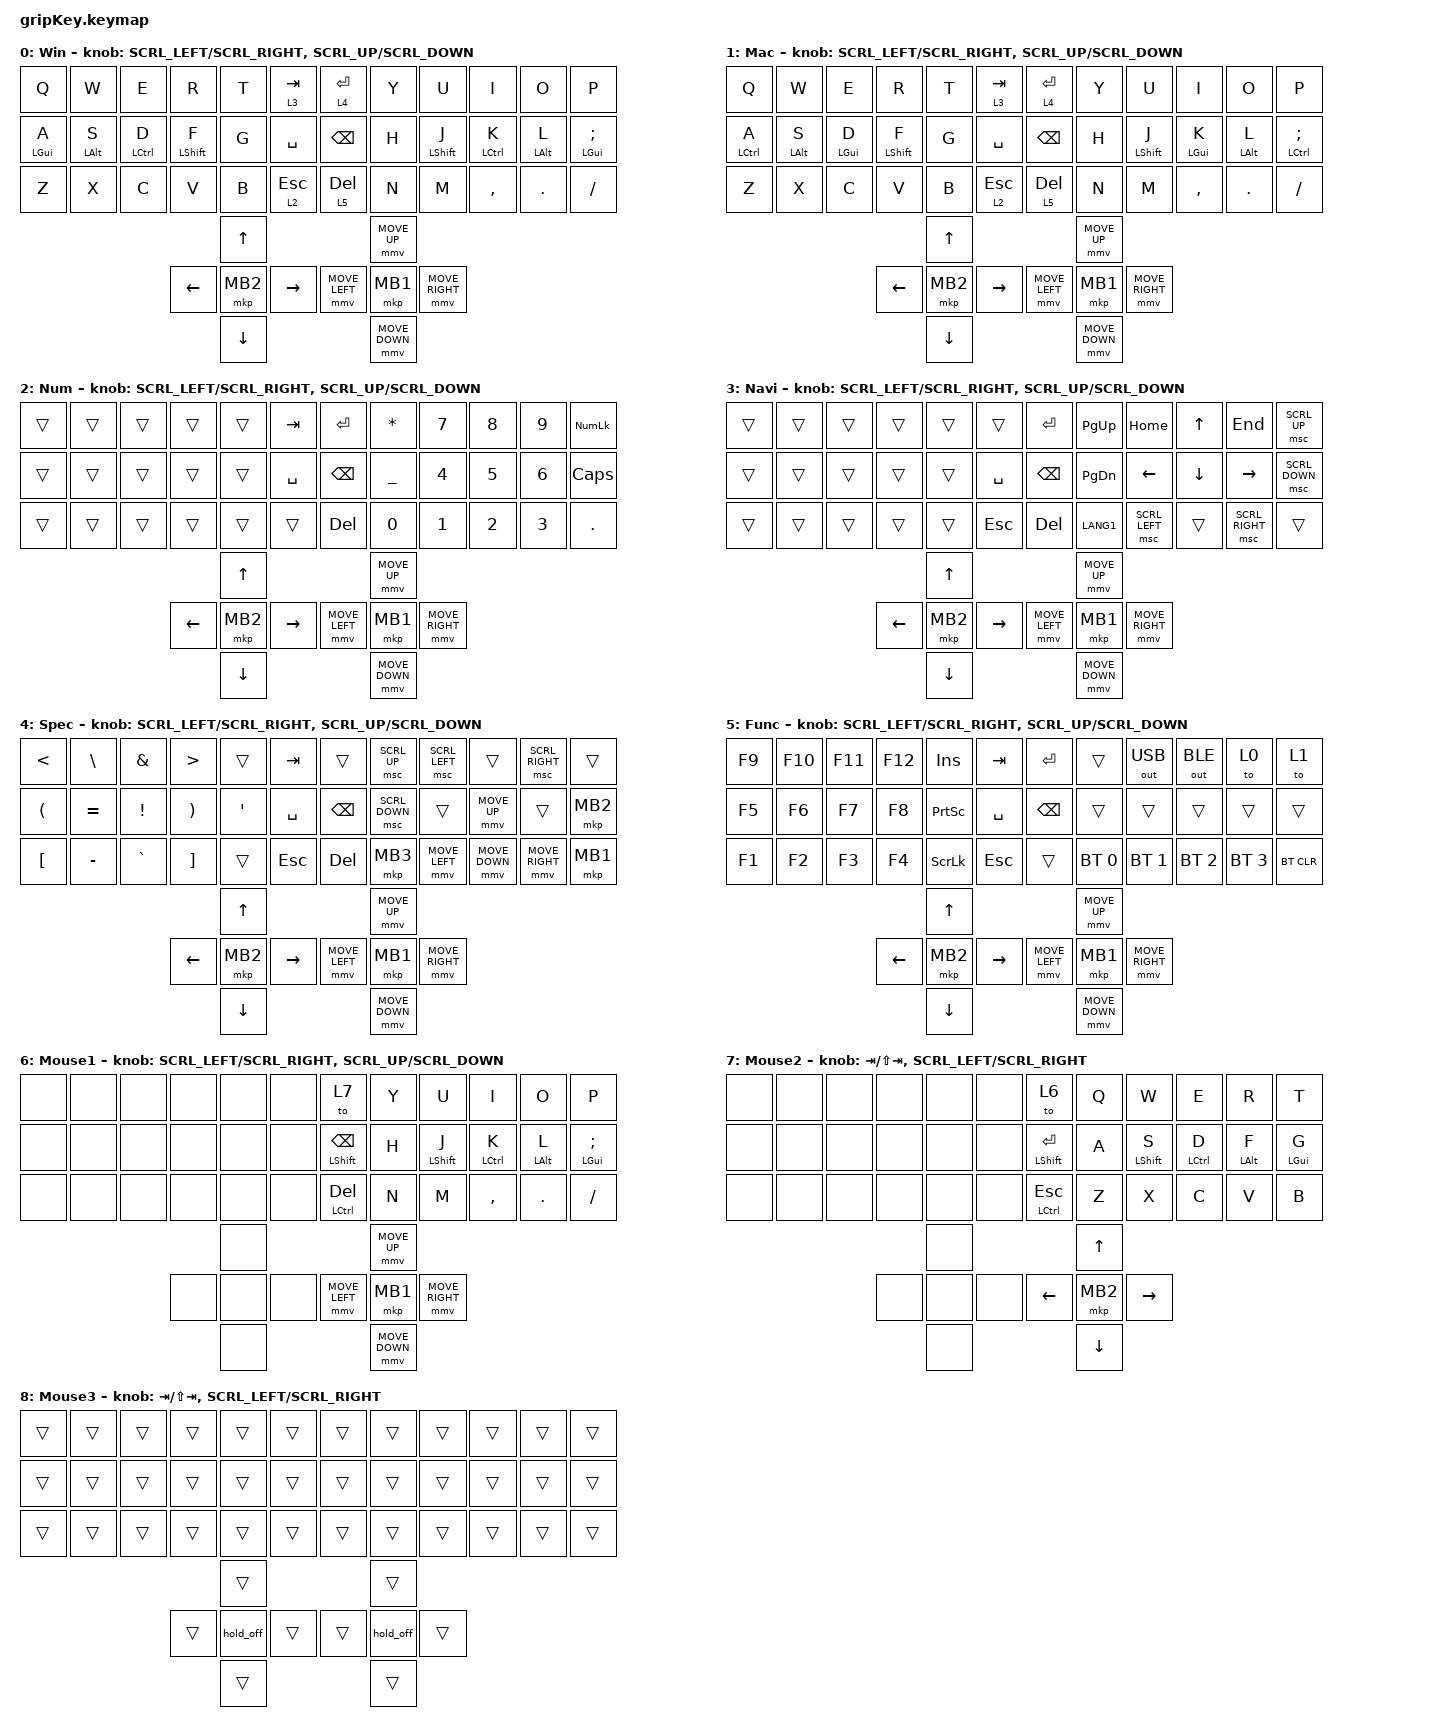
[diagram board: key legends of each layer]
#include <behaviors.dtsi>
#include <dt-bindings/zmk/keys.h>
#include <dt-bindings/zmk/bt.h>
#include <dt-bindings/zmk/outputs.h>

#include <dt-bindings/zmk/pointing.h>

// 휠 속도 최적화 - SCRL_VAL와 eh 하단의 tap-ms 곱해서 1250이상 돼야 스크롤 정상작동!
// SCRL_VAL: 스크롤 거리, tap-ms: 지연속도
#define ZMK_POINTING_DEFAULT_SCRL_VAL 30 // default:10, 7

// 스크롤 이벤트 빠른반영
&msc {
    trigger-period-ms = <8>;    // 기본값 16 (반영주기)
    time-to-max-speed-ms = <0>; // 기본값300 (최대치도달속도)
    acceleration-exponent = <0>;
};

/ {
    macros {
        ZMK_MACRO(sql_select,  wait-ms = <30>; tap-ms = <40>; bindings = <&kp S &kp E &kp L &kp E &kp C &kp T &kp SPACE &kp STAR>;)
        ZMK_MACRO(sql_from,    wait-ms = <30>; tap-ms = <40>; bindings = <&kp F &kp R &kp O &kp M>;)
        ZMK_MACRO(sql_where,   wait-ms = <30>; tap-ms = <40>; bindings = <&kp W &kp H &kp E &kp R &kp E &kp SPACE &kp N1 &kp EQUAL &kp N1 &kp ENTER &kp A &kp N &kp D &kp SPACE>;)
        ZMK_MACRO(sql_order,   wait-ms = <30>; tap-ms = <40>; bindings = <&kp O &kp R &kp D &kp E &kp R &kp SPACE &kp B &kp Y>;)
        // 마우스 홀드용 콤보
        ZMK_MACRO(mouse_hold,  wait-ms = <30>; tap-ms = <40>; bindings = <&macro_press &mkp MB1>, <&macro_tap &tog 8>;)
        ZMK_MACRO(mouse_hold_r,wait-ms = <30>; tap-ms = <40>; bindings = <&macro_press &mkp MB2>, <&macro_tap &tog 8>;)
        ZMK_MACRO(hold_off,    wait-ms = <0>;  tap-ms = <0>;  bindings = <&macro_release &mkp MB1>, <&macro_release &mkp MB2>, <&macro_tap &tog 8>;)
    };

    combos {
        compatible = "zmk,combos";
        combo_b                 { timeout-ms = <80>; key-positions = <31 32>;    bindings = <&kp B>; };
        combo_caps              { timeout-ms = <80>; key-positions = <0 1>;      bindings = <&kp CAPS>; };
        combo_hangle            { timeout-ms = <80>; key-positions = <10 11>;    bindings = <&kp LANG1>; };

        combo_select            { timeout-ms = <80>; key-positions = <32 33>;    bindings = <&sql_select>; };
        combo_from              { timeout-ms = <80>; key-positions = <32 33>;    bindings = <&sql_from>; };
        combo_where             { timeout-ms = <80>; key-positions = <8 9>;      bindings = <&sql_where>; };
        combo_order             { timeout-ms = <80>; key-positions = <9 10>;     bindings = <&sql_order>; };

        combo_win_undo          { timeout-ms = <80>; key-positions = <24 25>;    bindings = <&kp LC(Z)>; layers = <0>; };
        combo_win_redo          { timeout-ms = <80>; key-positions = <24 25 26>; bindings = <&kp LC(LS(Z))>; layers = <0>; };
        combo_win_cut           { timeout-ms = <80>; key-positions = <25 26>;    bindings = <&kp LC(X)>; layers = <0>; };
        combo_win_copy          { timeout-ms = <80>; key-positions = <26 27>;    bindings = <&kp LC(C)>; layers = <0>; };
        combo_win_paste         { timeout-ms = <80>; key-positions = <27 28>;    bindings = <&kp LC(V)>; layers = <0>; };
        combo_win_natural_paste { timeout-ms = <80>; key-positions = <26 27 28>; bindings = <&kp LC(LA(V))>; layers = <0>; };

        combo_mac_undo          { timeout-ms = <80>; key-positions = <24 25>;    bindings = <&kp LG(Z)>; layers = <1>; };
        combo_mac_redo          { timeout-ms = <80>; key-positions = <24 25 26>; bindings = <&kp LG(LS(Z))>; layers = <1>; };
        combo_mac_cut           { timeout-ms = <80>; key-positions = <25 26>;    bindings = <&kp LG(X)>; layers = <1>; };
        combo_mac_copy          { timeout-ms = <80>; key-positions = <26 27>;    bindings = <&kp LG(C)>; layers = <1>; };
        combo_mac_paste         { timeout-ms = <80>; key-positions = <27 28>;    bindings = <&kp LG(V)>; layers = <1>; };
        combo_mac_natural_paste { timeout-ms = <80>; key-positions = <26 27 28>; bindings = <&kp LG(LA(V))>; layers = <1>; };

        combo_to_mouse_mode     { timeout-ms = <80>; key-positions = <9 10 11>;  bindings = <&to 6>; layers = <0 1>; };
        combo_to_normal_mode    { timeout-ms = <80>; key-positions = <9 10 11>;  bindings = <&to 0>; layers = <6 7>; };
        combo_backward          { timeout-ms = <80>; key-positions = <6 18>;     bindings = <&kp C_AC_BACK>; };
        combo_forward           { timeout-ms = <80>; key-positions = <18 30>;    bindings = <&kp C_AC_FORWARD>; };
        combo_home              { timeout-ms = <80>; key-positions = <6 18 30>;  bindings = <&kp C_AC_HOME>; };
        
        combo_mouse_hold        { timeout-ms = <80>; key-positions = <7 42>;     bindings = <&mouse_hold>; layers = <0 1 2 3 4 5 6>; };
        combo_mouse_hold_r      { timeout-ms = <80>; key-positions = <4 39>;     bindings = <&mouse_hold_r>; layers = <0 1 2 3 4 5>; };
        combo_mouse_hold_r2     { timeout-ms = <80>; key-positions = <7 42>;     bindings = <&mouse_hold_r>; layers = <7>; };
    };

    behaviors {
        // 홈로우
        hm: balanced_homerow_mods {
            compatible = "zmk,behavior-hold-tap";
            #binding-cells = <2>;
            tapping-term-ms = <400>;
            quick-tap-ms = <0>;
            flavor = "balanced";
            bindings = <&kp>, <&kp>;
        };

        // 인코더 휠
        eh: scroll_encoder {
            compatible = "zmk,behavior-sensor-rotate-var";
            #sensor-binding-cells = <2>;
            bindings = <&msc>, <&msc>;
            tap-ms = <45>;
        };
    };
    
    keymap {
        // 0   1   2   3   4    5  | 6    7   8   9   10  11
        // 12  13  14  15  16   17 | 18   19  20  21  22  23
        // 24  25  26  27  28   29 | 30   31  32  33  34  35
        //                 36             37
        //             38  39  40     41  42  43
        //                 44             45
        compatible = "zmk,keymap";

        default_layer { // win
            display-name = "Win";
            bindings = <
            //                                                                                ╭─────────────╮       ╭─────────────╮
            //╭───────────────┬───────────────┬───────────────┬───────────────┬───────────────┤             │       │             ├───────────────┬────────────────┬─────────────────┬─────────────────┬────────────────╮
                &kp Q           &kp W           &kp E           &kp R           &kp T           &lt 3 TAB             &lt 4 ENTER   &kp Y           &kp U            &kp I             &kp O             &kp P
            //├───────────────┼───────────────┼───────────────┼───────────────┼───────────────┤             │       │             ├───────────────┼────────────────┼─────────────────┼─────────────────┼────────────────┤
                &hm LGUI A      &hm LALT S      &hm LCTRL D     &hm LSHFT F     &kp G           &kp SPACE             &kp BSPC      &kp H           &hm LSHFT J      &hm LCTRL K       &hm LALT L        &hm LGUI  SEMI
            //├───────────────┼───────────────┼───────────────┼───────────────┼───────────────┤             │       │             ├───────────────┼────────────────┼─────────────────┼─────────────────┼────────────────┤
                &kp Z           &kp X           &kp C           &kp V           &kp B           &lt 2 ESC             &lt 5 DEL     &kp N           &kp M            &kp COMMA         &kp DOT           &kp SLASH
            //╰───────────────┴───────────────┴───────────────┴───────────────┴───────────────┤             │       │             ├───────────────┴────────────────┴─────────────────┴─────────────────┴────────────────╯
            //                                                                ╭──────────────╮╰─────────────╯       ╰─────────────╯╭──────────────╮
                                                                                &kp UP                                               &mmv MOVE_UP
            //                                                ╭───────────────┼──────────────┼───────────────╮    ╭────────────────┼──────────────┼─────────────────╮
                                                                &kp LEFT        &mkp MB2       &kp RIGHT            &mmv MOVE_LEFT   &mkp MB1       &mmv MOVE_RIGHT
            //                                                ╰───────────────┼──────────────┼───────────────╯    ╰────────────────┼──────────────┼─────────────────╯
                                                                                &kp DOWN                                             &mmv MOVE_DOWN
            //                                                                ╰──────────────╯                                     ╰──────────────╯
            >;
            // wheel
            sensor-bindings = <&eh SCRL_LEFT SCRL_RIGHT &eh SCRL_UP SCRL_DOWN>;
        };

        mac_layer { // mac
            display-name = "Mac";
            bindings = <
            //                                                                                ╭─────────────╮       ╭─────────────╮
            //╭───────────────┬───────────────┬───────────────┬───────────────┬───────────────┤             │       │             ├───────────────┬────────────────┬─────────────────┬─────────────────┬────────────────╮
                &kp Q           &kp W           &kp E           &kp R           &kp T           &lt 3 TAB             &lt 4 ENTER   &kp Y           &kp U            &kp I             &kp O             &kp P
            //├───────────────┼───────────────┼───────────────┼───────────────┼───────────────┤             │       │             ├───────────────┼────────────────┼─────────────────┼─────────────────┼────────────────┤
                &hm LCTRL A     &hm LALT S      &hm LGUI D      &hm LSHFT F     &kp G           &kp SPACE             &kp BSPC      &kp H           &hm LSHFT J      &hm LGUI K        &hm LALT L        &hm LCTRL  SEMI
            //├───────────────┼───────────────┼───────────────┼───────────────┼───────────────┤             │       │             ├───────────────┼────────────────┼─────────────────┼─────────────────┼────────────────┤
                &kp Z           &kp X           &kp C           &kp V           &kp B           &lt 2 ESC             &lt 5 DEL     &kp N           &kp M            &kp COMMA         &kp DOT           &kp SLASH
            //╰───────────────┴───────────────┴───────────────┴───────────────┴───────────────┤             │       │             ├───────────────┴────────────────┴─────────────────┴─────────────────┴────────────────╯
            //                                                                ╭──────────────╮╰─────────────╯       ╰─────────────╯╭──────────────╮
                                                                                &kp UP                                               &mmv MOVE_UP
            //                                                ╭───────────────┼──────────────┼───────────────╮    ╭────────────────┼──────────────┼─────────────────╮
                                                                &kp LEFT        &mkp MB2       &kp RIGHT            &mmv MOVE_LEFT   &mkp MB1       &mmv MOVE_RIGHT
            //                                                ╰───────────────┼──────────────┼───────────────╯    ╰────────────────┼──────────────┼─────────────────╯
                                                                                &kp DOWN                                             &mmv MOVE_DOWN
            //                                                                ╰──────────────╯                                     ╰──────────────╯
            >;
            // wheel
            sensor-bindings = <&eh SCRL_LEFT SCRL_RIGHT &eh SCRL_UP SCRL_DOWN>;
        };

        num_layer { // 2 left first
            display-name = "Num";
            bindings = <
            //                                                                                ╭─────────────╮       ╭─────────────╮
            //╭───────────────┬───────────────┬───────────────┬───────────────┬───────────────┤             │       │             ├───────────────┬────────────────┬─────────────────┬─────────────────┬────────────────╮
                &trans          &trans          &trans          &trans          &trans          &kp TAB               &kp ENTER     &kp STAR        &kp N7           &kp N8            &kp N9            &kp KP_NUM
            //├───────────────┼───────────────┼───────────────┼───────────────┼───────────────┤             │       │             ├───────────────┼────────────────┼─────────────────┼─────────────────┼────────────────┤
                &trans          &trans          &trans          &trans          &trans          &kp SPACE             &kp BSPC      &kp UNDER       &kp N4           &kp N5            &kp N6            &kp CAPS
            //├───────────────┼───────────────┼───────────────┼───────────────┼───────────────┤             │       │             ├───────────────┼────────────────┼─────────────────┼─────────────────┼────────────────┤
                &trans          &trans          &trans          &trans          &trans          &trans                &kp DEL       &kp N0          &kp N1           &kp N2            &kp N3            &kp DOT
            //╰───────────────┴───────────────┴───────────────┴───────────────┴───────────────┤             │       │             ├───────────────┴────────────────┴─────────────────┴─────────────────┴────────────────╯
            //                                                                ╭──────────────╮╰─────────────╯       ╰─────────────╯╭──────────────╮
                                                                                &kp UP                                               &mmv MOVE_UP
            //                                                ╭───────────────┼──────────────┼───────────────╮    ╭────────────────┼──────────────┼─────────────────╮
                                                                &kp LEFT        &mkp MB2       &kp RIGHT            &mmv MOVE_LEFT   &mkp MB1       &mmv MOVE_RIGHT
            //                                                ╰───────────────┼──────────────┼───────────────╯    ╰────────────────┼──────────────┼─────────────────╯
                                                                                &kp DOWN                                             &mmv MOVE_DOWN
            //                                                                ╰──────────────╯                                     ╰──────────────╯
            >;
            // wheel
            sensor-bindings = <&eh SCRL_LEFT SCRL_RIGHT &eh SCRL_UP SCRL_DOWN>;
        };

        nav_layer { // 3 left last
            display-name = "Navi";
            bindings = <
            //                                                                                ╭─────────────╮       ╭─────────────╮
            //╭───────────────┬───────────────┬───────────────┬───────────────┬───────────────┤             │       │             ├───────────────┬────────────────┬─────────────────┬─────────────────┬────────────────╮
                &trans          &trans          &trans          &trans          &trans          &trans                &kp ENTER     &kp PG_UP       &kp HOME         &kp UP            &kp END           &msc SCRL_UP
            //├───────────────┼───────────────┼───────────────┼───────────────┼───────────────┤             │       │             ├───────────────┼────────────────┼─────────────────┼─────────────────┼────────────────┤
                &trans          &trans          &trans          &trans          &trans          &kp SPACE             &kp BSPC      &kp PG_DN       &kp LEFT         &kp DOWN          &kp RIGHT         &msc SCRL_DOWN
            //├───────────────┼───────────────┼───────────────┼───────────────┼───────────────┤             │       │             ├───────────────┼────────────────┼─────────────────┼─────────────────┼────────────────┤
                &trans          &trans          &trans          &trans          &trans          &kp ESC               &kp DEL       &kp LANG1       &msc SCRL_LEFT   &trans            &msc SCRL_RIGHT   &trans
            //╰───────────────┴───────────────┴───────────────┴───────────────┴───────────────┤             │       │             ├───────────────┴────────────────┴─────────────────┴─────────────────┴────────────────╯
            //                                                                ╭──────────────╮╰─────────────╯       ╰─────────────╯╭──────────────╮
                                                                                &kp UP                                               &mmv MOVE_UP
            //                                                ╭───────────────┼──────────────┼───────────────╮    ╭────────────────┼──────────────┼─────────────────╮
                                                                &kp LEFT        &mkp MB2       &kp RIGHT            &mmv MOVE_LEFT   &mkp MB1       &mmv MOVE_RIGHT
            //                                                ╰───────────────┼──────────────┼───────────────╯    ╰────────────────┼──────────────┼─────────────────╯
                                                                                &kp DOWN                                             &mmv MOVE_DOWN
            //                                                                ╰──────────────╯                                     ╰──────────────╯
            >;
            // wheel
            sensor-bindings = <&eh SCRL_LEFT SCRL_RIGHT &eh SCRL_UP SCRL_DOWN>;
        };

        spec_layer { // 4 right first
            display-name = "Spec";
            bindings = <
            //                                                                                ╭─────────────╮       ╭─────────────╮
            //╭───────────────┬───────────────┬───────────────┬───────────────┬───────────────┤             │       │             ├───────────────┬────────────────┬─────────────────┬─────────────────┬────────────────╮
                &kp LT          &kp BSLH        &kp AMPS        &kp GT          &trans          &kp TAB               &trans        &msc SCRL_UP    &msc SCRL_LEFT   &trans            &msc SCRL_RIGHT   &trans
            //├───────────────┼───────────────┼───────────────┼───────────────┼───────────────┤             │       │             ├───────────────┼────────────────┼─────────────────┼─────────────────┼────────────────┤
                &kp LPAR        &kp EQUAL       &kp EXCL        &kp RPAR        &kp SQT         &kp SPACE             &kp BSPC      &msc SCRL_DOWN  &trans           &mmv MOVE_UP      &trans            &mkp MB2
            //├───────────────┼───────────────┼───────────────┼───────────────┼───────────────┤             │       │             ├───────────────┼────────────────┼─────────────────┼─────────────────┼────────────────┤
                &kp LBKT        &kp MINUS       &kp GRAVE       &kp RBKT        &trans          &kp ESC               &kp DEL       &mkp MB3        &mmv MOVE_LEFT   &mmv MOVE_DOWN    &mmv MOVE_RIGHT   &mkp MB1
            //╰───────────────┴───────────────┴───────────────┴───────────────┴───────────────┤             │       │             ├───────────────┴────────────────┴─────────────────┴─────────────────┴────────────────╯
            //                                                                ╭──────────────╮╰─────────────╯       ╰─────────────╯╭──────────────╮
                                                                                &kp UP                                               &mmv MOVE_UP
            //                                                ╭───────────────┼──────────────┼───────────────╮    ╭────────────────┼──────────────┼─────────────────╮
                                                                &kp LEFT        &mkp MB2       &kp RIGHT            &mmv MOVE_LEFT   &mkp MB1       &mmv MOVE_RIGHT
            //                                                ╰───────────────┼──────────────┼───────────────╯    ╰────────────────┼──────────────┼─────────────────╯
                                                                                &kp DOWN                                             &mmv MOVE_DOWN
            //                                                                ╰──────────────╯                                     ╰──────────────╯
            >;
            // wheel
            sensor-bindings = <&eh SCRL_LEFT SCRL_RIGHT &eh SCRL_UP SCRL_DOWN>;
        };

        func_layer { // 5 right last
            display-name = "Func";
            bindings = <
            //                                                                                ╭─────────────╮       ╭─────────────╮
            //╭───────────────┬───────────────┬───────────────┬───────────────┬───────────────┤             │       │             ├───────────────┬────────────────┬─────────────────┬─────────────────┬────────────────╮
                &kp F9          &kp F10         &kp F11         &kp F12         &kp INS         &kp TAB               &kp ENTER     &trans          &out OUT_USB     &out OUT_BLE      &to 0             &to 1
            //├───────────────┼───────────────┼───────────────┼───────────────┼───────────────┤             │       │             ├───────────────┼────────────────┼─────────────────┼─────────────────┼────────────────┤
                &kp F5          &kp F6          &kp F7          &kp F8          &kp PSCRN       &kp SPACE             &kp BSPC      &trans          &trans           &trans            &trans            &trans
            //├───────────────┼───────────────┼───────────────┼───────────────┼───────────────┤             │       │             ├───────────────┼────────────────┼─────────────────┼─────────────────┼────────────────┤
                &kp F1          &kp F2          &kp F3          &kp F4          &kp SLCK        &kp ESC               &trans        &bt BT_SEL 0    &bt BT_SEL 1     &bt BT_SEL 2      &bt BT_SEL 3      &bt BT_CLR
            //╰───────────────┴───────────────┴───────────────┴───────────────┴───────────────┤             │       │             ├───────────────┴────────────────┴─────────────────┴─────────────────┴────────────────╯
            //                                                                ╭──────────────╮╰─────────────╯       ╰─────────────╯╭──────────────╮
                                                                                &kp UP                                               &mmv MOVE_UP
            //                                                ╭───────────────┼──────────────┼───────────────╮    ╭────────────────┼──────────────┼─────────────────╮
                                                                &kp LEFT        &mkp MB2       &kp RIGHT            &mmv MOVE_LEFT   &mkp MB1       &mmv MOVE_RIGHT
            //                                                ╰───────────────┼──────────────┼───────────────╯    ╰────────────────┼──────────────┼─────────────────╯
                                                                                &kp DOWN                                             &mmv MOVE_DOWN
            //                                                                ╰──────────────╯                                     ╰──────────────╯
            >;
            // wheel
            sensor-bindings = <&eh SCRL_LEFT SCRL_RIGHT &eh SCRL_UP SCRL_DOWN>;
        };

        mouse1_layer { // 6 onehand_mouse_mode1
            display-name = "Mouse1";
            bindings = <
            //                                                                                ╭─────────────╮       ╭─────────────╮
            //╭───────────────┬───────────────┬───────────────┬───────────────┬───────────────┤             │       │             ├───────────────┬────────────────┬─────────────────┬─────────────────┬────────────────╮
                &none           &none           &none           &none           &none           &none                 &to 7         &kp Y           &kp U            &kp I             &kp O             &kp P
            //├───────────────┼───────────────┼───────────────┼───────────────┼───────────────┤             │       │             ├───────────────┼────────────────┼─────────────────┼─────────────────┼────────────────┤
                &none           &none           &none           &none           &none           &none                &hm LSHFT BSPC &kp H           &hm LSHFT J      &hm LCTRL K       &hm LALT L        &hm LGUI  SEMI
            //├───────────────┼───────────────┼───────────────┼───────────────┼───────────────┤             │       │             ├───────────────┼────────────────┼─────────────────┼─────────────────┼────────────────┤
                &none           &none           &none           &none           &none           &none                 &hm LCTRL DEL &kp N           &kp M            &kp COMMA         &kp DOT           &kp SLASH
            //╰───────────────┴───────────────┴───────────────┴───────────────┴───────────────┤             │       │             ├───────────────┴────────────────┴─────────────────┴─────────────────┴────────────────╯
            //                                                                ╭──────────────╮╰─────────────╯       ╰─────────────╯╭──────────────╮
                                                                                &none                                                &mmv MOVE_UP
            //                                                ╭───────────────┼──────────────┼───────────────╮    ╭────────────────┼──────────────┼─────────────────╮
                                                                &none           &none          &none                &mmv MOVE_LEFT   &mkp MB1       &mmv MOVE_RIGHT
            //                                                ╰───────────────┼──────────────┼───────────────╯    ╰────────────────┼──────────────┼─────────────────╯
                                                                                &none                                                &mmv MOVE_DOWN
            //                                                                ╰──────────────╯                                     ╰──────────────╯
            >;
            // wheel
            sensor-bindings = <&eh SCRL_LEFT SCRL_RIGHT &eh SCRL_UP SCRL_DOWN>;
        };

        mouse2_layer { // 7 onehand_mouse_mode2
            display-name = "Mouse2";
            bindings = <
            //                                                                                ╭─────────────╮       ╭─────────────╮
            //╭───────────────┬───────────────┬───────────────┬───────────────┬───────────────┤             │       │             ├───────────────┬────────────────┬─────────────────┬─────────────────┬────────────────╮
                &none           &none           &none           &none           &none           &none                 &to 6         &kp Q           &kp W            &kp E             &kp R             &kp T 
            //├───────────────┼───────────────┼───────────────┼───────────────┼───────────────┤             │       │             ├───────────────┼────────────────┼─────────────────┼─────────────────┼────────────────┤
                &none           &none           &none           &none           &none           &none               &hm LSHFT ENTER &kp A           &hm LSHFT S      &hm LCTRL D       &hm LALT F        &hm LGUI G
            //├───────────────┼───────────────┼───────────────┼───────────────┼───────────────┤             │       │             ├───────────────┼────────────────┼─────────────────┼─────────────────┼────────────────┤
                &none           &none           &none           &none           &none           &none                 &hm LCTRL ESC &kp Z           &kp X            &kp C            &kp V              &kp B
            //╰───────────────┴───────────────┴───────────────┴───────────────┴───────────────┤             │       │             ├───────────────┴────────────────┴─────────────────┴─────────────────┴────────────────╯
            //                                                                ╭──────────────╮╰─────────────╯       ╰─────────────╯╭──────────────╮
                                                                                &none                                                &kp UP
            //                                                ╭───────────────┼──────────────┼───────────────╮    ╭────────────────┼──────────────┼─────────────────╮
                                                                &none           &none          &none                &kp LEFT         &mkp MB2       &kp RIGHT
            //                                                ╰───────────────┼──────────────┼───────────────╯    ╰────────────────┼──────────────┼─────────────────╯
                                                                                &none                                                &kp DOWN
            //                                                                ╰──────────────╯                                     ╰──────────────╯
            >;
            // wheel
            sensor-bindings = <&inc_dec_kp TAB LS(TAB) &eh SCRL_LEFT SCRL_RIGHT>;
        };

        mouse3_layer { // 8 mouse hold layer
            display-name = "Mouse3";
            bindings = <
            //                                                                                ╭─────────────╮       ╭─────────────╮
            //╭───────────────┬───────────────┬───────────────┬───────────────┬───────────────┤             │       │             ├───────────────┬────────────────┬─────────────────┬─────────────────┬────────────────╮
                &trans          &trans          &trans          &trans          &trans          &trans                &trans        &trans          &trans           &trans            &trans            &trans 
            //├───────────────┼───────────────┼───────────────┼───────────────┼───────────────┤             │       │             ├───────────────┼────────────────┼─────────────────┼─────────────────┼────────────────┤
                &trans          &trans          &trans          &trans          &trans          &trans                &trans        &trans          &trans           &trans            &trans            &trans
            //├───────────────┼───────────────┼───────────────┼───────────────┼───────────────┤             │       │             ├───────────────┼────────────────┼─────────────────┼─────────────────┼────────────────┤
                &trans          &trans          &trans          &trans          &trans          &trans                &trans        &trans          &trans           &trans            &trans            &trans
            //╰───────────────┴───────────────┴───────────────┴───────────────┴───────────────┤             │       │             ├───────────────┴────────────────┴─────────────────┴─────────────────┴────────────────╯
            //                                                                ╭──────────────╮╰─────────────╯       ╰─────────────╯╭──────────────╮
                                                                                &trans                                               &trans
            //                                                ╭───────────────┼──────────────┼───────────────╮    ╭────────────────┼──────────────┼─────────────────╮
                                                                &trans          &hold_off      &trans               &trans           &hold_off      &trans
            //                                                ╰───────────────┼──────────────┼───────────────╯    ╰────────────────┼──────────────┼─────────────────╯
                                                                                &trans                                               &trans
            //                                                                ╰──────────────╯                                     ╰──────────────╯
            >;
            // wheel
            sensor-bindings = <&inc_dec_kp TAB LS(TAB) &eh SCRL_LEFT SCRL_RIGHT>;
        };
    };
};
